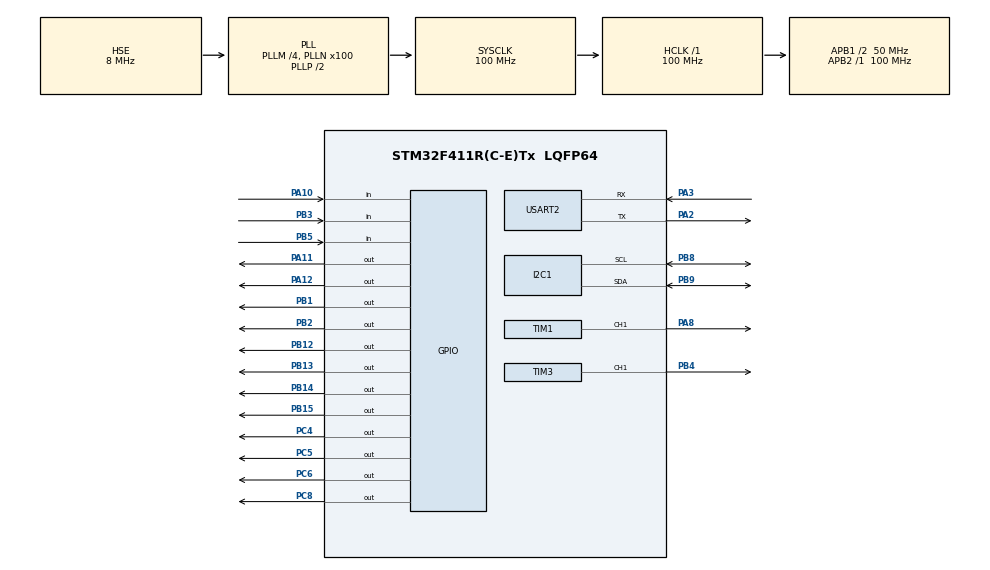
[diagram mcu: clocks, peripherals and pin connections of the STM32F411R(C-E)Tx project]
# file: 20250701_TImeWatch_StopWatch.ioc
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FREERTOS.Tasks01=defaultTask,0,128,StartDefaultTask,Default,NULL,Dynamic,NULL,NULL;ListenerTask,0,128,ListenerThread,Default,NULL,Dynamic,NULL,NULL;ControllerTask,0,128,ControllerThread,Default,NULL,Dynamic,NULL,NULL;PresenterTask,0,128,PresenterThread,Default,NULL,Dynamic,NULL,NULL
FREERTOS.configUSE_NEWLIB_REENTRANT=1
Mcu.Family=STM32F4
Mcu.Name=STM32F411R(C-E)Tx
Mcu.Package=LQFP64
NVIC.PriorityGroup=NVIC_PRIORITYGROUP_4
NVIC.TIM1_TRG_COM_TIM11_IRQn=true\:15\:0\:false\:false\:true\:false\:false\:true\:true
NVIC.TIM2_IRQn=true\:5\:0\:false\:false\:true\:true\:true\:true\:true
NVIC.TimeBase=TIM1_TRG_COM_TIM11_IRQn
NVIC.TimeBaseIP=TIM11
NVIC.USART2_IRQn=true\:5\:0\:false\:false\:true\:true\:true\:true\:true
PA10.Signal=GPIO_Input
PA11.Signal=GPIO_Output
PA12.Signal=GPIO_Output
PA13.Mode=Serial_Wire
PA13.Signal=SYS_JTMS-SWDIO
PA14.Mode=Serial_Wire
PA14.Signal=SYS_JTCK-SWCLK
PA2.Mode=Asynchronous
PA2.Signal=USART2_TX
PA3.Mode=Asynchronous
PA3.Signal=USART2_RX
PA8.Signal=S_TIM1_CH1
PB1.Signal=GPIO_Output
PB12.Signal=GPIO_Output
PB13.Signal=GPIO_Output
PB14.Signal=GPIO_Output
PB15.Signal=GPIO_Output
PB2.Signal=GPIO_Output
PB3.Signal=GPIO_Input
PB4.Signal=S_TIM3_CH1
PB5.Signal=GPIO_Input
PB8.Mode=I2C
PB8.Signal=I2C1_SCL
PB9.Mode=I2C
PB9.Signal=I2C1_SDA
PC4.Signal=GPIO_Output
PC5.Signal=GPIO_Output
PC6.Signal=GPIO_Output
PC8.Signal=GPIO_Output
PH0\ -\ OSC_IN.Mode=HSE-External-Oscillator
PH0\ -\ OSC_IN.Signal=RCC_OSC_IN
PH1\ -\ OSC_OUT.Mode=HSE-External-Oscillator
PH1\ -\ OSC_OUT.Signal=RCC_OSC_OUT
ProjectManager.HeapSize=0x200
ProjectManager.StackSize=0x400
ProjectManager.TargetToolchain=STM32CubeIDE
RCC.48MHZClocksFreq_Value=50000000
RCC.AHBFreq_Value=100000000
RCC.APB1CLKDivider=RCC_HCLK_DIV2
RCC.APB1Freq_Value=50000000
RCC.APB1TimFreq_Value=100000000
RCC.APB2Freq_Value=100000000
RCC.APB2TimFreq_Value=100000000
RCC.CortexFreq_Value=100000000
RCC.HCLKFreq_Value=100000000
RCC.HSE_VALUE=8000000
RCC.HSI_VALUE=16000000
RCC.LSE_VALUE=32768
RCC.PLLM=4
RCC.PLLN=100
RCC.PLLSourceVirtual=RCC_PLLSOURCE_HSE
RCC.SYSCLKFreq_VALUE=100000000
RCC.SYSCLKSource=RCC_SYSCLKSOURCE_PLLCLK
RCC.VCOOutputFreq_Value=200000000
SH.S_TIM1_CH1.0=TIM1_CH1,PWM Generation1 CH1
SH.S_TIM3_CH1.0=TIM3_CH1,PWM Generation1 CH1
TIM1.AutoReloadPreload=TIM_AUTORELOAD_PRELOAD_ENABLE
TIM1.Channel-PWM\ Generation1\ CH1=TIM_CHANNEL_1
TIM1.Period=1000-1
TIM1.Prescaler=100-1
TIM1.Pulse-PWM\ Generation1\ CH1=500
TIM2.Period=1000-1
TIM2.Prescaler=100-1
TIM3.AutoReloadPreload=TIM_AUTORELOAD_PRELOAD_ENABLE
TIM3.Channel-PWM\ Generation1\ CH1=TIM_CHANNEL_1
TIM3.Period=1000-1
TIM3.Prescaler=100-1
TIM3.Pulse-PWM\ Generation1\ CH1=500-1
USART2.VirtualMode=VM_ASYNC
VP_FREERTOS_VS_CMSIS_V1.Mode=CMSIS_V1
VP_SYS_VS_tim11.Mode=TIM11
VP_TIM1_VS_ClockSourceINT.Mode=Internal
VP_TIM2_VS_ClockSourceINT.Mode=Internal
VP_TIM3_VS_ClockSourceINT.Mode=Internal
board=custom

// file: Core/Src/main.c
/* USER CODE BEGIN Header */
/**
  ******************************************************************************
  * @file           : main.c
  * @brief          : Main program body
  ******************************************************************************
  * @attention
  *
  * Copyright (c) 2025 STMicroelectronics.
  * All rights reserved.
  *
  * This software is licensed under terms that can be found in the LICENSE file
  * in the root directory of this software component.
  * If no LICENSE file comes with this software, it is provided AS-IS.
  *
  ******************************************************************************
  */
/* USER CODE END Header */
#include "main.h"
#include "cmsis_os.h"
#include "i2c.h"
#include "tim.h"
#include "usart.h"
#include "gpio.h"

/* USER CODE BEGIN Includes */
#include "ap_main.h"
/* USER CODE END Includes */

void SystemClock_Config(void);
void MX_FREERTOS_Init(void);

int main(void)
{

  /* MCU Configuration--------------------------------------------------------*/

  /* Reset of all peripherals, Initializes the Flash interface and the Systick. */
  HAL_Init();

  /* Configure the system clock */
  SystemClock_Config();

  /* Initialize all configured peripherals */
  MX_GPIO_Init();
  MX_TIM2_Init();
  MX_USART2_UART_Init();
  MX_I2C1_Init();
  MX_TIM3_Init();
  MX_TIM1_Init();

  /* Call init function for freertos objects (in cmsis_os2.c) */
  MX_FREERTOS_Init();

  /* Start scheduler */
  osKernelStart();

  /* We should never get here as control is now taken by the scheduler */

  /* Infinite loop */
  while (1)
  {

  }
}

void SystemClock_Config(void)
{
  RCC_OscInitTypeDef RCC_OscInitStruct = {0};
  RCC_ClkInitTypeDef RCC_ClkInitStruct = {0};

  /** Configure the main internal regulator output voltage
  */
  __HAL_RCC_PWR_CLK_ENABLE();
  __HAL_PWR_VOLTAGESCALING_CONFIG(PWR_REGULATOR_VOLTAGE_SCALE1);

  /** Initializes the RCC Oscillators according to the specified parameters
  * in the RCC_OscInitTypeDef structure.
  */
  RCC_OscInitStruct.OscillatorType = RCC_OSCILLATORTYPE_HSE;
  RCC_OscInitStruct.HSEState = RCC_HSE_ON;
  RCC_OscInitStruct.PLL.PLLState = RCC_PLL_ON;
  RCC_OscInitStruct.PLL.PLLSource = RCC_PLLSOURCE_HSE;
  RCC_OscInitStruct.PLL.PLLM = 4;
  RCC_OscInitStruct.PLL.PLLN = 100;
  RCC_OscInitStruct.PLL.PLLP = RCC_PLLP_DIV2;
  RCC_OscInitStruct.PLL.PLLQ = 4;
  if (HAL_RCC_OscConfig(&RCC_OscInitStruct) != HAL_OK)
  {
    Error_Handler();
  }

  /** Initializes the CPU, AHB and APB buses clocks
  */
  RCC_ClkInitStruct.ClockType = RCC_CLOCKTYPE_HCLK|RCC_CLOCKTYPE_SYSCLK
                              |RCC_CLOCKTYPE_PCLK1|RCC_CLOCKTYPE_PCLK2;
  RCC_ClkInitStruct.SYSCLKSource = RCC_SYSCLKSOURCE_PLLCLK;
  RCC_ClkInitStruct.AHBCLKDivider = RCC_SYSCLK_DIV1;
  RCC_ClkInitStruct.APB1CLKDivider = RCC_HCLK_DIV2;
  RCC_ClkInitStruct.APB2CLKDivider = RCC_HCLK_DIV1;

  if (HAL_RCC_ClockConfig(&RCC_ClkInitStruct, FLASH_LATENCY_3) != HAL_OK)
  {
    Error_Handler();
  }
}

void HAL_TIM_PeriodElapsedCallback(TIM_HandleTypeDef *htim)
{
  if (htim->Instance == TIM11)
  {
    HAL_IncTick();
  }
}

void Error_Handler(void)
{
  __disable_irq();
  while (1)
  {
  }
}

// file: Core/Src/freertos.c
/* USER CODE BEGIN Header */
/**
 ******************************************************************************
 * File Name          : freertos.c
 * Description        : Code for freertos applications
 ******************************************************************************
 * @attention
 *
 * Copyright (c) 2025 STMicroelectronics.
 * All rights reserved.
 *
 * This software is licensed under terms that can be found in the LICENSE file
 * in the root directory of this software component.
 * If no LICENSE file comes with this software, it is provided AS-IS.
 *
 ******************************************************************************
 */
/* USER CODE END Header */

#include "FreeRTOS.h"
#include "task.h"
#include "main.h"
#include "cmsis_os.h"

osThreadId defaultTaskHandle;
osThreadId ListenerTaskHandle;
osThreadId ControllerTaskHandle;
osThreadId PresenterTaskHandle;

/* USER CODE BEGIN FunctionPrototypes */
void HAL_TIM_PeriodElapsedCallback(TIM_HandleTypeDef *htim);
void HAL_UART_RxCpltCallback(UART_HandleTypeDef *huart);
/* USER CODE END FunctionPrototypes */

void StartDefaultTask(void const * argument);
void ListenerThread(void const * argument);
void ControllerThread(void const * argument);
void PresenterThread(void const * argument);

void MX_FREERTOS_Init(void); /* (MISRA C 2004 rule 8.1) */

/* GetIdleTaskMemory prototype (linked to static allocation support) */
void vApplicationGetIdleTaskMemory( StaticTask_t **ppxIdleTaskTCBBuffer, StackType_t **ppxIdleTaskStackBuffer, uint32_t *pulIdleTaskStackSize );

/* USER CODE BEGIN GET_IDLE_TASK_MEMORY */
static StaticTask_t xIdleTaskTCBBuffer;
static StackType_t xIdleStack[configMINIMAL_STACK_SIZE];

void vApplicationGetIdleTaskMemory( StaticTask_t **ppxIdleTaskTCBBuffer, StackType_t **ppxIdleTaskStackBuffer, uint32_t *pulIdleTaskStackSize )
{
	*ppxIdleTaskTCBBuffer = &xIdleTaskTCBBuffer;
	*ppxIdleTaskStackBuffer = &xIdleStack[0];
	*pulIdleTaskStackSize = configMINIMAL_STACK_SIZE;
	/* place for user code */
}
/* USER CODE END GET_IDLE_TASK_MEMORY */

void MX_FREERTOS_Init(void) {

	/* Create the thread(s) */
	/* definition and creation of defaultTask */
	osThreadDef(defaultTask, StartDefaultTask, osPriorityNormal, 0, 128);
	defaultTaskHandle = osThreadCreate(osThread(defaultTask), NULL);

	/* definition and creation of ListenerTask */
	osThreadDef(ListenerTask, ListenerThread, osPriorityNormal, 0, 128);
	ListenerTaskHandle = osThreadCreate(osThread(ListenerTask), NULL);

	/* definition and creation of ControllerTask */
	osThreadDef(ControllerTask, ControllerThread, osPriorityNormal, 0, 128);
	ControllerTaskHandle = osThreadCreate(osThread(ControllerTask), NULL);

	/* definition and creation of PresenterTask */
	osThreadDef(PresenterTask, PresenterThread, osPriorityNormal, 0, 128);
	PresenterTaskHandle = osThreadCreate(osThread(PresenterTask), NULL);

}

void StartDefaultTask(void const * argument)
{
	for(;;)
	{
		osDelay(1);
	}
}

void ListenerThread(void const * argument)
{
	/* USER CODE BEGIN ListenerThread */
	Listener_Init();
	/* Infinite loop */
	for(;;)
	{
		Listener_Excute();
		osDelay(1);
	}
	/* USER CODE END ListenerThread */
}

void ControllerThread(void const * argument)
{
	/* USER CODE BEGIN ControllerThread */
	/* Infinite loop */
	for(;;)
	{
	Controller_Excute();
		osDelay(1);
	}
	/* USER CODE END ControllerThread */
}

void PresenterThread(void const * argument)
{
	/* USER CODE BEGIN PresenterThread */
	Presenter_Init();
	/* Infinite loop */
	for(;;)
	{
		Presenter_Excute();
		osDelay(1);
	}
	/* USER CODE END PresenterThread */
}

/* USER CODE BEGIN Application */
void HAL_TIM_PeriodElapsedCallback(TIM_HandleTypeDef *htim)
{
	if(htim->Instance == TIM2) {
		FND_DispDataCallBack();

		TimeWatch_IncTimeCallBack();
		StopWatch_IncTimeCallBack();
	}
}

void HAL_UART_RxCpltCallback(UART_HandleTypeDef *huart)
{
	if (huart->Instance == USART2) {
		Listener_UartCallBack();
	}
}
/* USER CODE END Application */
